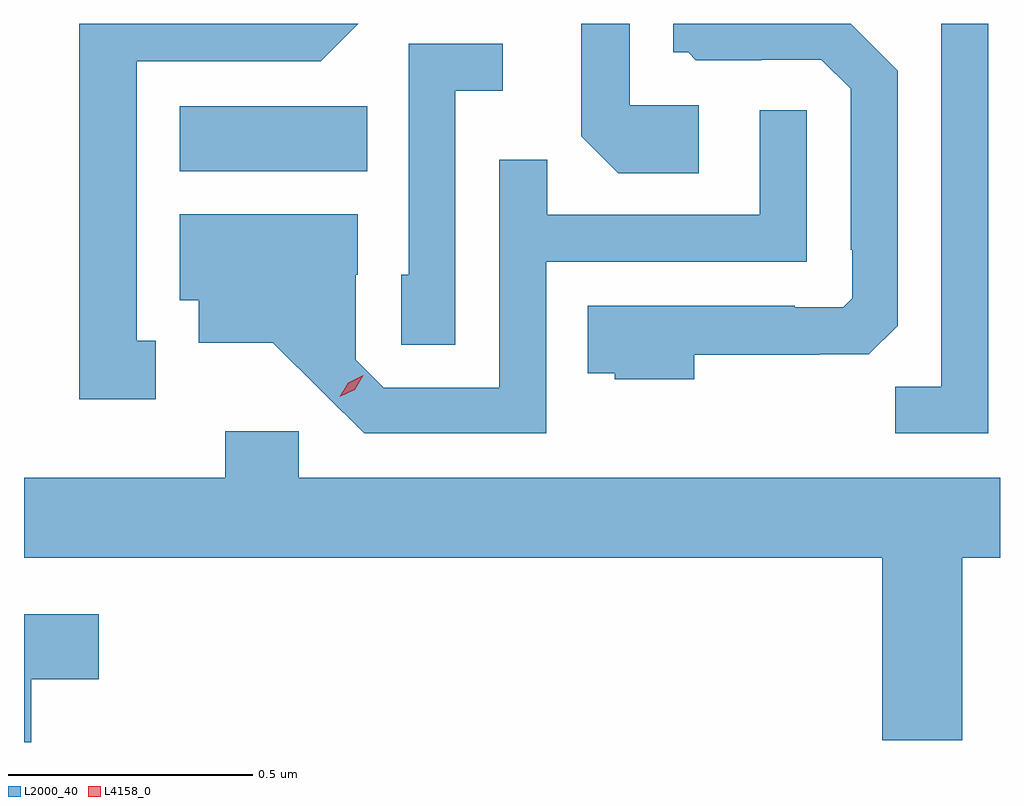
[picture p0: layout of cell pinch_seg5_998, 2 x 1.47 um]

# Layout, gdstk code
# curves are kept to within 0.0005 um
import gdstk
lib = gdstk.Library(unit=1e-6, precision=1e-09)
def R(c, l, rs):  # rectangles x0, y0, x1, y1
    for r in rs: c.add(gdstk.rectangle(r[:2], r[2:], *l))
def P(c, l, *ps):  # polygons
    for p in ps: c.add(gdstk.Polygon(p, *l))
L2000_40 = (2000, 40)
L4158_0 = (4158, 0)

pinch_seg5_998 = lib.new_cell('pinch_seg5_998')
R(pinch_seg5_998, L2000_40, [(750.98,877.532,751.364,877.666)])
P(pinch_seg5_998, L2000_40, [(752.034,877.156),(752.291,877.156),(752.291,877.157),(752.392,877.157),(752.451,877.216),(752.451,877.738),(752.355,877.835),(751.991,877.835),(751.991,877.776),(752.022,877.776),(752.038,877.76),(752.172,877.76),(752.172,877.761),(752.295,877.761),(752.355,877.701),(752.355,877.372),(752.358,877.372),(752.358,877.272),(752.34,877.254),(752.24,877.254),(752.24,877.257),(751.816,877.257),(751.816,877.118),(751.872,877.118),(751.872,877.106),(752.034,877.106)],
  [(750.931,877.185),(750.892,877.185),(750.892,877.758),(751.269,877.758),(751.346,877.835),(750.774,877.835),(750.774,877.065),(750.931,877.065)],
  [(752.044,877.668),(751.902,877.668),(751.902,877.835),(751.803,877.835),(751.803,877.604),(751.879,877.528),(752.044,877.528)],
  [(752.637,877.835),(752.541,877.835),(752.541,877.091),(752.446,877.091),(752.446,876.996),(752.637,876.996)],
  [(751.545,877.697),(751.642,877.697),(751.642,877.794),(751.449,877.794),(751.449,877.32),(751.434,877.32),(751.434,877.177),(751.545,877.177)],
  [(751.731,877.347),(752.265,877.347),(752.265,877.657),(752.169,877.657),(752.169,877.443),(751.733,877.443),(751.733,877.556),(751.635,877.556),(751.635,877.089),(751.398,877.089),(751.341,877.146),(751.341,877.32),(751.345,877.32),(751.345,877.444),(750.98,877.444),(750.98,877.268),(751.019,877.268),(751.019,877.181),(751.171,877.181),(751.358,876.996),(751.731,876.996)],
  [(752.584,876.74),(752.661,876.74),(752.661,876.904),(751.224,876.904),(751.224,877),(751.073,877),(751.073,876.904),(750.661,876.904),(750.661,876.74),(752.42,876.74),(752.42,876.366),(752.584,876.366)],
  [(750.676,876.491),(750.814,876.491),(750.814,876.625),(750.661,876.625),(750.661,876.362),(750.676,876.362)])
P(pinch_seg5_998, L4158_0, [(751.308,877.07),(751.308,877.07),(751.325,877.099),(751.356,877.114),(751.356,877.114),(751.356,877.114),(751.339,877.085),(751.308,877.07)])

lib.write_gds('pinch_seg5_998.gds')
